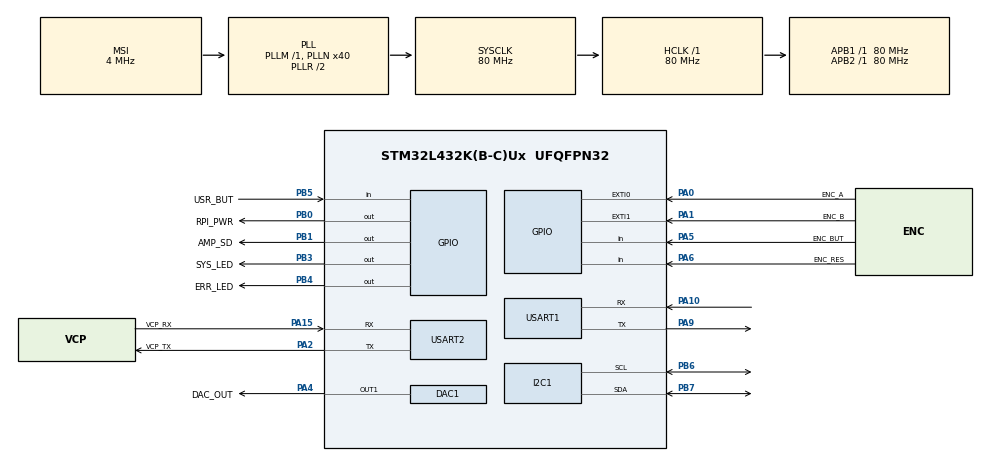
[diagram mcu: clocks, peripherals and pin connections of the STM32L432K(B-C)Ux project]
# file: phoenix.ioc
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DAC1.DAC_Trigger-DAC_OUT1=DAC_TRIGGER_T6_TRGO
Dma.DAC_CH1.0.Direction=DMA_MEMORY_TO_PERIPH
Dma.DAC_CH1.0.Instance=DMA1_Channel3
Dma.DAC_CH1.0.MemDataAlignment=DMA_MDATAALIGN_BYTE
Dma.DAC_CH1.0.MemInc=DMA_MINC_ENABLE
Dma.DAC_CH1.0.Mode=DMA_NORMAL
Dma.DAC_CH1.0.PeriphDataAlignment=DMA_PDATAALIGN_BYTE
Dma.DAC_CH1.0.PeriphInc=DMA_PINC_DISABLE
Dma.DAC_CH1.0.Priority=DMA_PRIORITY_LOW
Dma.Request0=DAC_CH1
Mcu.Family=STM32L4
Mcu.Name=STM32L432K(B-C)Ux
Mcu.Package=UFQFPN32
NVIC.DMA1_Channel3_IRQn=true\:0\:0\:false\:false\:true\:false
NVIC.EXTI0_IRQn=true\:0\:0\:false\:false\:true\:true
NVIC.EXTI1_IRQn=true\:0\:0\:false\:false\:true\:true
NVIC.PriorityGroup=NVIC_PRIORITYGROUP_4
PA0.GPIO_Label=ENC_A
PA0.GPIO_ModeDefaultEXTI=GPIO_MODE_IT_RISING_FALLING
PA0.GPIO_PuPd=GPIO_NOPULL
PA0.Signal=GPXTI0
PA1.GPIO_Label=ENC_B
PA1.GPIO_ModeDefaultEXTI=GPIO_MODE_IT_RISING_FALLING
PA1.GPIO_PuPd=GPIO_NOPULL
PA1.Signal=GPXTI1
PA10.Mode=Asynchronous
PA10.Signal=USART1_RX
PA13\ (JTMS-SWDIO).GPIO_Label=SWDIO
PA13\ (JTMS-SWDIO).Mode=Serial_Wire
PA13\ (JTMS-SWDIO).Signal=SYS_JTMS-SWDIO
PA14\ (JTCK-SWCLK).GPIO_Label=SWCLK
PA14\ (JTCK-SWCLK).Mode=Serial_Wire
PA14\ (JTCK-SWCLK).Signal=SYS_JTCK-SWCLK
PA15\ (JTDI).GPIO_Label=VCP_RX
PA15\ (JTDI).Mode=Asynchronous
PA15\ (JTDI).Signal=USART2_RX
PA2.GPIO_Label=VCP_TX
PA2.Mode=Asynchronous
PA2.Signal=USART2_TX
PA4.GPIO_Label=DAC_OUT
PA4.Signal=COMP_DAC11_group
PA5.GPIO_Label=ENC_BUT
PA5.GPIO_PuPd=GPIO_PULLUP
PA5.Signal=GPIO_Input
PA6.GPIO_Label=ENC_RES
PA6.Signal=GPIO_Input
PA9.Mode=Asynchronous
PA9.Signal=USART1_TX
PB0.GPIO_Label=RPI_PWR
PB0.Signal=GPIO_Output
PB1.GPIO_Label=AMP_SD
PB1.Signal=GPIO_Output
PB3\ (JTDO-TRACESWO).GPIO_Label=SYS_LED
PB3\ (JTDO-TRACESWO).Signal=GPIO_Output
PB4\ (NJTRST).GPIO_Label=ERR_LED
PB4\ (NJTRST).Signal=GPIO_Output
PB5.GPIO_Label=USR_BUT
PB5.Signal=GPIO_Input
PB6.Mode=I2C
PB6.Signal=I2C1_SCL
PB7.Mode=I2C
PB7.Signal=I2C1_SDA
ProjectManager.HeapSize=0x200
ProjectManager.StackSize=0x400
ProjectManager.TargetToolchain=TrueSTUDIO
RCC.ADCFreq_Value=16000000
RCC.AHBFreq_Value=80000000
RCC.APB1Freq_Value=80000000
RCC.APB1TimFreq_Value=80000000
RCC.APB2Freq_Value=80000000
RCC.APB2TimFreq_Value=80000000
RCC.CortexFreq_Value=80000000
RCC.HCLKFreq_Value=80000000
RCC.HSE_VALUE=8000000
RCC.HSI16_VALUE=16000000
RCC.HSI48_VALUE=48000000
RCC.HSI_VALUE=16000000
RCC.LSE_VALUE=32768
RCC.MSI_VALUE=4000000
RCC.PLLMUL=RCC_PLLMUL_4
RCC.PLLN=40
RCC.SYSCLKFreq_VALUE=80000000
RCC.SYSCLKSource=RCC_SYSCLKSOURCE_PLLCLK
RCC.USBFreq_Value=16000000
RCC.VCOOutputFreq_Value=160000000
SH.COMP_DAC11_group.0=DAC1_OUT1,DAC_OUT1
TIM6.Period=1000
TIM6.Prescaler=10
TIM6.TIM_MasterOutputTrigger=TIM_TRGO_UPDATE
USART1.VirtualMode-Asynchronous=VM_ASYNC
USART2.VirtualMode-Asynchronous=VM_ASYNC
USART2.WordLength=WORDLENGTH_8B
VP_TIM6_VS_ClockSourceINT.Mode=Enable_Timer
board=NUCLEO-L432KC

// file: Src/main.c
/**
  ******************************************************************************
  * @file           : main.c
  * @brief          : Main program body
  ******************************************************************************
  ** This notice applies to any and all portions of this file
  * that are not between comment pairs USER CODE BEGIN and
  * USER CODE END. Other portions of this file, whether
  * inserted by the user or by software development tools
  * are owned by their respective copyright owners.
  *
  * COPYRIGHT(c) 2018 STMicroelectronics
  *
  * Redistribution and use in source and binary forms, with or without modification,
  * are permitted provided that the following conditions are met:
  *   1. Redistributions of source code must retain the above copyright notice,
  *      this list of conditions and the following disclaimer.
  *   2. Redistributions in binary form must reproduce the above copyright notice,
  *      this list of conditions and the following disclaimer in the documentation
  *      and/or other materials provided with the distribution.
  *   3. Neither the name of STMicroelectronics nor the names of its contributors
  *      may be used to endorse or promote products derived from this software
  *      without specific prior written permission.
  *
  * THIS SOFTWARE IS PROVIDED BY THE COPYRIGHT HOLDERS AND CONTRIBUTORS "AS IS"
  * AND ANY EXPRESS OR IMPLIED WARRANTIES, INCLUDING, BUT NOT LIMITED TO, THE
  * IMPLIED WARRANTIES OF MERCHANTABILITY AND FITNESS FOR A PARTICULAR PURPOSE ARE
  * DISCLAIMED. IN NO EVENT SHALL THE COPYRIGHT HOLDER OR CONTRIBUTORS BE LIABLE
  * FOR ANY DIRECT, INDIRECT, INCIDENTAL, SPECIAL, EXEMPLARY, OR CONSEQUENTIAL
  * DAMAGES (INCLUDING, BUT NOT LIMITED TO, PROCUREMENT OF SUBSTITUTE GOODS OR
  * SERVICES; LOSS OF USE, DATA, OR PROFITS; OR BUSINESS INTERRUPTION) HOWEVER
  * CAUSED AND ON ANY THEORY OF LIABILITY, WHETHER IN CONTRACT, STRICT LIABILITY,
  * OR TORT (INCLUDING NEGLIGENCE OR OTHERWISE) ARISING IN ANY WAY OUT OF THE USE
  * OF THIS SOFTWARE, EVEN IF ADVISED OF THE POSSIBILITY OF SUCH DAMAGE.
  *
  ******************************************************************************
  */
#include "main.h"
#include "stm32l4xx_hal.h"

/* USER CODE BEGIN Includes */
#include "encoder.h"
#include "sampleplayer.h"
#include "mcp4018.h"
#include "button.h"

/* USER CODE END Includes */

DAC_HandleTypeDef hdac1;
DMA_HandleTypeDef hdma_dac_ch1;

I2C_HandleTypeDef hi2c1;

TIM_HandleTypeDef htim6;

UART_HandleTypeDef huart1;
UART_HandleTypeDef huart2;

/* USER CODE BEGIN PV */
/* Private variables ---------------------------------------------------------*/

uint32_t sys_timer_ms = 0;

/* USER CODE END PV */

void SystemClock_Config(void);
static void MX_GPIO_Init(void);
static void MX_DMA_Init(void);
static void MX_USART2_UART_Init(void);
static void MX_DAC1_Init(void);
static void MX_USART1_UART_Init(void);
static void MX_I2C1_Init(void);
static void MX_TIM6_Init(void);

/* USER CODE BEGIN PFP */
/* Private function prototypes -----------------------------------------------*/

/* USER CODE END PFP */

int main(void)
{
  /* USER CODE BEGIN 1 */
    uint8_t last_encoder_pos = 0;

  /* USER CODE END 1 */

  /* MCU Configuration----------------------------------------------------------*/

  /* Reset of all peripherals, Initializes the Flash interface and the Systick. */
  HAL_Init();

  /* Configure the system clock */
  SystemClock_Config();

  /* Initialize all configured peripherals */
  MX_GPIO_Init();
  MX_DMA_Init();
  MX_USART2_UART_Init();
  MX_DAC1_Init();
  MX_USART1_UART_Init();
  MX_I2C1_Init();
  MX_TIM6_Init();
  /* USER CODE BEGIN 2 */

  sampleplayer_init();
  mcp4018_set_wiper(0);

  /* USER CODE END 2 */

  /* Infinite loop */
  while (1)
  {

  /* USER CODE BEGIN 3 */
      uint8_t new_encoder_pos = encoder_read();

      if (new_encoder_pos != last_encoder_pos) {
          mcp4018_set_wiper(new_encoder_pos);
          printf("Enc=%d tim=%lu\r\n", encoder_read(), sys_timer_ms);
          sampleplayer_play_click();

          last_encoder_pos = new_encoder_pos;
      }

      if (button_update() == BUTTON_STATE_PUSHED) {
          sampleplayer_play_bleep();
      }
      HAL_GPIO_TogglePin(SYS_LED_GPIO_Port, SYS_LED_Pin);

      HAL_Delay(10);

  }
  /* USER CODE END 3 */

}

void SystemClock_Config(void)
{

  RCC_OscInitTypeDef RCC_OscInitStruct;
  RCC_ClkInitTypeDef RCC_ClkInitStruct;
  RCC_PeriphCLKInitTypeDef PeriphClkInit;

    /**Initializes the CPU, AHB and APB busses clocks
    */
  RCC_OscInitStruct.OscillatorType = RCC_OSCILLATORTYPE_MSI;
  RCC_OscInitStruct.MSIState = RCC_MSI_ON;
  RCC_OscInitStruct.MSICalibrationValue = 0;
  RCC_OscInitStruct.MSIClockRange = RCC_MSIRANGE_6;
  RCC_OscInitStruct.PLL.PLLState = RCC_PLL_ON;
  RCC_OscInitStruct.PLL.PLLSource = RCC_PLLSOURCE_MSI;
  RCC_OscInitStruct.PLL.PLLM = 1;
  RCC_OscInitStruct.PLL.PLLN = 40;
  RCC_OscInitStruct.PLL.PLLP = RCC_PLLP_DIV7;
  RCC_OscInitStruct.PLL.PLLQ = RCC_PLLQ_DIV2;
  RCC_OscInitStruct.PLL.PLLR = RCC_PLLR_DIV2;
  if (HAL_RCC_OscConfig(&RCC_OscInitStruct) != HAL_OK)
  {
    _Error_Handler(__FILE__, __LINE__);
  }

    /**Initializes the CPU, AHB and APB busses clocks
    */
  RCC_ClkInitStruct.ClockType = RCC_CLOCKTYPE_HCLK|RCC_CLOCKTYPE_SYSCLK
                              |RCC_CLOCKTYPE_PCLK1|RCC_CLOCKTYPE_PCLK2;
  RCC_ClkInitStruct.SYSCLKSource = RCC_SYSCLKSOURCE_PLLCLK;
  RCC_ClkInitStruct.AHBCLKDivider = RCC_SYSCLK_DIV1;
  RCC_ClkInitStruct.APB1CLKDivider = RCC_HCLK_DIV1;
  RCC_ClkInitStruct.APB2CLKDivider = RCC_HCLK_DIV1;

  if (HAL_RCC_ClockConfig(&RCC_ClkInitStruct, FLASH_LATENCY_4) != HAL_OK)
  {
    _Error_Handler(__FILE__, __LINE__);
  }

  PeriphClkInit.PeriphClockSelection = RCC_PERIPHCLK_USART1|RCC_PERIPHCLK_USART2
                              |RCC_PERIPHCLK_I2C1;
  PeriphClkInit.Usart1ClockSelection = RCC_USART1CLKSOURCE_PCLK2;
  PeriphClkInit.Usart2ClockSelection = RCC_USART2CLKSOURCE_PCLK1;
  PeriphClkInit.I2c1ClockSelection = RCC_I2C1CLKSOURCE_PCLK1;
  if (HAL_RCCEx_PeriphCLKConfig(&PeriphClkInit) != HAL_OK)
  {
    _Error_Handler(__FILE__, __LINE__);
  }

    /**Configure the main internal regulator output voltage
    */
  if (HAL_PWREx_ControlVoltageScaling(PWR_REGULATOR_VOLTAGE_SCALE1) != HAL_OK)
  {
    _Error_Handler(__FILE__, __LINE__);
  }

    /**Configure the Systick interrupt time
    */
  HAL_SYSTICK_Config(HAL_RCC_GetHCLKFreq()/1000);

    /**Configure the Systick
    */
  HAL_SYSTICK_CLKSourceConfig(SYSTICK_CLKSOURCE_HCLK);

  /* SysTick_IRQn interrupt configuration */
  HAL_NVIC_SetPriority(SysTick_IRQn, 0, 0);
}

/* DAC1 init function */
static void MX_DAC1_Init(void)
{

  DAC_ChannelConfTypeDef sConfig;

    /**DAC Initialization
    */
  hdac1.Instance = DAC1;
  if (HAL_DAC_Init(&hdac1) != HAL_OK)
  {
    _Error_Handler(__FILE__, __LINE__);
  }

    /**DAC channel OUT1 config
    */
  sConfig.DAC_SampleAndHold = DAC_SAMPLEANDHOLD_DISABLE;
  sConfig.DAC_Trigger = DAC_TRIGGER_T6_TRGO;
  sConfig.DAC_OutputBuffer = DAC_OUTPUTBUFFER_ENABLE;
  sConfig.DAC_ConnectOnChipPeripheral = DAC_CHIPCONNECT_DISABLE;
  sConfig.DAC_UserTrimming = DAC_TRIMMING_FACTORY;
  if (HAL_DAC_ConfigChannel(&hdac1, &sConfig, DAC_CHANNEL_1) != HAL_OK)
  {
    _Error_Handler(__FILE__, __LINE__);
  }

}

/* I2C1 init function */
static void MX_I2C1_Init(void)
{

  hi2c1.Instance = I2C1;
  hi2c1.Init.Timing = 0x10909CEC;
  hi2c1.Init.OwnAddress1 = 0;
  hi2c1.Init.AddressingMode = I2C_ADDRESSINGMODE_7BIT;
  hi2c1.Init.DualAddressMode = I2C_DUALADDRESS_DISABLE;
  hi2c1.Init.OwnAddress2 = 0;
  hi2c1.Init.OwnAddress2Masks = I2C_OA2_NOMASK;
  hi2c1.Init.GeneralCallMode = I2C_GENERALCALL_DISABLE;
  hi2c1.Init.NoStretchMode = I2C_NOSTRETCH_DISABLE;
  if (HAL_I2C_Init(&hi2c1) != HAL_OK)
  {
    _Error_Handler(__FILE__, __LINE__);
  }

    /**Configure Analogue filter
    */
  if (HAL_I2CEx_ConfigAnalogFilter(&hi2c1, I2C_ANALOGFILTER_ENABLE) != HAL_OK)
  {
    _Error_Handler(__FILE__, __LINE__);
  }

    /**Configure Digital filter
    */
  if (HAL_I2CEx_ConfigDigitalFilter(&hi2c1, 0) != HAL_OK)
  {
    _Error_Handler(__FILE__, __LINE__);
  }

}

/* TIM6 init function */
static void MX_TIM6_Init(void)
{

  TIM_MasterConfigTypeDef sMasterConfig;

  htim6.Instance = TIM6;
  htim6.Init.Prescaler = 10;
  htim6.Init.CounterMode = TIM_COUNTERMODE_UP;
  htim6.Init.Period = 1000;
  htim6.Init.AutoReloadPreload = TIM_AUTORELOAD_PRELOAD_DISABLE;
  if (HAL_TIM_Base_Init(&htim6) != HAL_OK)
  {
    _Error_Handler(__FILE__, __LINE__);
  }

  sMasterConfig.MasterOutputTrigger = TIM_TRGO_UPDATE;
  sMasterConfig.MasterSlaveMode = TIM_MASTERSLAVEMODE_DISABLE;
  if (HAL_TIMEx_MasterConfigSynchronization(&htim6, &sMasterConfig) != HAL_OK)
  {
    _Error_Handler(__FILE__, __LINE__);
  }

}

/* USART1 init function */
static void MX_USART1_UART_Init(void)
{

  huart1.Instance = USART1;
  huart1.Init.BaudRate = 115200;
  huart1.Init.WordLength = UART_WORDLENGTH_7B;
  huart1.Init.StopBits = UART_STOPBITS_1;
  huart1.Init.Parity = UART_PARITY_NONE;
  huart1.Init.Mode = UART_MODE_TX_RX;
  huart1.Init.HwFlowCtl = UART_HWCONTROL_NONE;
  huart1.Init.OverSampling = UART_OVERSAMPLING_16;
  huart1.Init.OneBitSampling = UART_ONE_BIT_SAMPLE_DISABLE;
  huart1.AdvancedInit.AdvFeatureInit = UART_ADVFEATURE_NO_INIT;
  if (HAL_UART_Init(&huart1) != HAL_OK)
  {
    _Error_Handler(__FILE__, __LINE__);
  }

}

/* USART2 init function */
static void MX_USART2_UART_Init(void)
{

  huart2.Instance = USART2;
  huart2.Init.BaudRate = 115200;
  huart2.Init.WordLength = UART_WORDLENGTH_8B;
  huart2.Init.StopBits = UART_STOPBITS_1;
  huart2.Init.Parity = UART_PARITY_NONE;
  huart2.Init.Mode = UART_MODE_TX_RX;
  huart2.Init.HwFlowCtl = UART_HWCONTROL_NONE;
  huart2.Init.OverSampling = UART_OVERSAMPLING_16;
  huart2.Init.OneBitSampling = UART_ONE_BIT_SAMPLE_DISABLE;
  huart2.AdvancedInit.AdvFeatureInit = UART_ADVFEATURE_NO_INIT;
  if (HAL_UART_Init(&huart2) != HAL_OK)
  {
    _Error_Handler(__FILE__, __LINE__);
  }

}

static void MX_DMA_Init(void)
{
  /* DMA controller clock enable */
  __HAL_RCC_DMA1_CLK_ENABLE();

  /* DMA interrupt init */
  /* DMA1_Channel3_IRQn interrupt configuration */
  HAL_NVIC_SetPriority(DMA1_Channel3_IRQn, 0, 0);
  HAL_NVIC_EnableIRQ(DMA1_Channel3_IRQn);

}

/** Configure pins as
        * Analog
        * Input
        * Output
        * EVENT_OUT
        * EXTI
*/
static void MX_GPIO_Init(void)
{

  GPIO_InitTypeDef GPIO_InitStruct;

  /* GPIO Ports Clock Enable */
  __HAL_RCC_GPIOA_CLK_ENABLE();
  __HAL_RCC_GPIOB_CLK_ENABLE();

  /*Configure GPIO pin Output Level */
  HAL_GPIO_WritePin(GPIOB, RPI_PWR_Pin|AMP_SD_Pin|SYS_LED_Pin|ERR_LED_Pin, GPIO_PIN_RESET);

  /*Configure GPIO pins : ENC_A_Pin ENC_B_Pin */
  GPIO_InitStruct.Pin = ENC_A_Pin|ENC_B_Pin;
  GPIO_InitStruct.Mode = GPIO_MODE_IT_RISING_FALLING;
  GPIO_InitStruct.Pull = GPIO_NOPULL;
  HAL_GPIO_Init(GPIOA, &GPIO_InitStruct);

  /*Configure GPIO pin : ENC_BUT_Pin */
  GPIO_InitStruct.Pin = ENC_BUT_Pin;
  GPIO_InitStruct.Mode = GPIO_MODE_INPUT;
  GPIO_InitStruct.Pull = GPIO_PULLUP;
  HAL_GPIO_Init(ENC_BUT_GPIO_Port, &GPIO_InitStruct);

  /*Configure GPIO pin : ENC_RES_Pin */
  GPIO_InitStruct.Pin = ENC_RES_Pin;
  GPIO_InitStruct.Mode = GPIO_MODE_INPUT;
  GPIO_InitStruct.Pull = GPIO_NOPULL;
  HAL_GPIO_Init(ENC_RES_GPIO_Port, &GPIO_InitStruct);

  /*Configure GPIO pins : RPI_PWR_Pin AMP_SD_Pin SYS_LED_Pin ERR_LED_Pin */
  GPIO_InitStruct.Pin = RPI_PWR_Pin|AMP_SD_Pin|SYS_LED_Pin|ERR_LED_Pin;
  GPIO_InitStruct.Mode = GPIO_MODE_OUTPUT_PP;
  GPIO_InitStruct.Pull = GPIO_NOPULL;
  GPIO_InitStruct.Speed = GPIO_SPEED_FREQ_LOW;
  HAL_GPIO_Init(GPIOB, &GPIO_InitStruct);

  /*Configure GPIO pin : USR_BUT_Pin */
  GPIO_InitStruct.Pin = USR_BUT_Pin;
  GPIO_InitStruct.Mode = GPIO_MODE_INPUT;
  GPIO_InitStruct.Pull = GPIO_NOPULL;
  HAL_GPIO_Init(USR_BUT_GPIO_Port, &GPIO_InitStruct);

  /* EXTI interrupt init*/
  HAL_NVIC_SetPriority(EXTI0_IRQn, 0, 0);
  HAL_NVIC_EnableIRQ(EXTI0_IRQn);

  HAL_NVIC_SetPriority(EXTI1_IRQn, 0, 0);
  HAL_NVIC_EnableIRQ(EXTI1_IRQn);

}

void _Error_Handler(char *file, int line)
{
  while(1)
  {
  }
}

/************************ (C) COPYRIGHT STMicroelectronics *****END OF FILE****/
